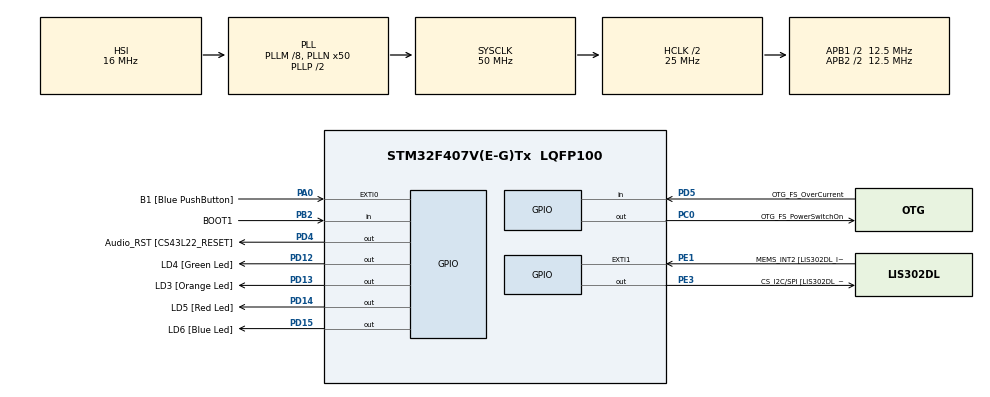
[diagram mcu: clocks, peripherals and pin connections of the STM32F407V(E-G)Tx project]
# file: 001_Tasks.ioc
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Mcu.Family=STM32F4
Mcu.Name=STM32F407V(E-G)Tx
Mcu.Package=LQFP100
NVIC.PriorityGroup=NVIC_PRIORITYGROUP_4
NVIC.TIM6_DAC_IRQn=true\:15\:0\:false\:false\:true\:false\:true\:true
NVIC.TimeBase=TIM6_DAC_IRQn
NVIC.TimeBaseIP=TIM6
PA0-WKUP.GPIO_Label=B1 [Blue PushButton]
PA0-WKUP.Signal=GPXTI0
PA10.GPIO_Label=OTG_FS_ID
PA10.GPIO_Mode=GPIO_MODE_AF_PP
PA10.GPIO_PuPd=GPIO_NOPULL
PA10.GPIO_Speed=GPIO_SPEED_FREQ_LOW
PA10.Signal=USB_OTG_FS_ID
PA11.GPIO_Label=OTG_FS_DM
PA11.GPIO_Mode=GPIO_MODE_AF_PP
PA11.GPIO_PuPd=GPIO_NOPULL
PA11.GPIO_Speed=GPIO_SPEED_FREQ_LOW
PA11.Signal=USB_OTG_FS_DM
PA12.GPIO_Label=OTG_FS_DP
PA12.GPIO_Mode=GPIO_MODE_AF_PP
PA12.GPIO_PuPd=GPIO_NOPULL
PA12.GPIO_Speed=GPIO_SPEED_FREQ_LOW
PA12.Signal=USB_OTG_FS_DP
PA13.GPIO_Label=SWDIO
PA13.Signal=SYS_JTMS-SWDIO
PA14.GPIO_Label=SWCLK
PA14.Signal=SYS_JTCK-SWCLK
PA4.GPIO_Label=I2S3_WS [CS43L22_LRCK]
PA4.GPIO_Mode=GPIO_MODE_AF_PP
PA4.GPIO_PuPd=GPIO_NOPULL
PA4.GPIO_Speed=GPIO_SPEED_FREQ_LOW
PA4.Signal=I2S3_WS
PA5.GPIO_Label=SPI1_SCK [LIS302DL_SCL/SPC]
PA5.GPIO_Mode=GPIO_MODE_AF_PP
PA5.GPIO_PuPd=GPIO_NOPULL
PA5.GPIO_Speed=GPIO_SPEED_FREQ_LOW
PA5.Signal=SPI1_SCK
PA6.GPIO_Label=SPI1_MISO [LIS302DL_SDO]
PA6.GPIO_Mode=GPIO_MODE_AF_PP
PA6.GPIO_PuPd=GPIO_NOPULL
PA6.GPIO_Speed=GPIO_SPEED_FREQ_LOW
PA6.Signal=SPI1_MISO
PA7.GPIO_Label=SPI1_MOSI [LIS302DL_SDA/SDI/SDO]
PA7.GPIO_Mode=GPIO_MODE_AF_PP
PA7.GPIO_PuPd=GPIO_NOPULL
PA7.GPIO_Speed=GPIO_SPEED_FREQ_LOW
PA7.Signal=SPI1_MOSI
PA9.GPIO_Label=VBUS_FS
PA9.GPIO_Mode=GPIO_MODE_INPUT
PA9.GPIO_PuPd=GPIO_NOPULL
PA9.Signal=USB_OTG_FS_VBUS
PB10.GPIO_Label=CLK_IN [MP45DT02_CLK]
PB10.GPIO_Mode=GPIO_MODE_AF_PP
PB10.GPIO_PuPd=GPIO_NOPULL
PB10.GPIO_Speed=GPIO_SPEED_FREQ_LOW
PB10.Signal=I2S2_CK
PB2.GPIO_Label=BOOT1
PB2.GPIO_Mode=GPIO_MODE_INPUT
PB2.GPIO_PuPd=GPIO_NOPULL
PB2.Signal=GPIO_Input
PB3.GPIO_Label=SWO
PB3.Signal=SYS_JTDO-SWO
PB6.GPIO_Label=Audio_SCL [CS43L22_SCL]
PB6.GPIO_Mode=GPIO_MODE_AF_OD
PB6.GPIO_PuPd=GPIO_NOPULL
PB6.GPIO_Speed=GPIO_SPEED_FREQ_LOW
PB6.Signal=I2C1_SCL
PB9.GPIO_Label=Audio_SDA [CS43L22_SDA]
PB9.GPIO_Mode=GPIO_MODE_AF_OD
PB9.GPIO_PuPd=GPIO_NOPULL
PB9.GPIO_Speed=GPIO_SPEED_FREQ_LOW
PB9.Signal=I2C1_SDA
PC0.GPIO_Label=OTG_FS_PowerSwitchOn
PC0.GPIO_PuPd=GPIO_NOPULL
PC0.GPIO_Speed=GPIO_SPEED_FREQ_LOW
PC0.PinState=GPIO_PIN_SET
PC0.Signal=GPIO_Output
PC10.GPIO_Label=I2S3_SCK [CS43L22_SCLK]
PC10.GPIO_Mode=GPIO_MODE_AF_PP
PC10.GPIO_PuPd=GPIO_NOPULL
PC10.GPIO_Speed=GPIO_SPEED_FREQ_LOW
PC10.Signal=I2S3_CK
PC12.GPIO_Label=I2S3_SD [CS43L22_SDIN]
PC12.GPIO_Mode=GPIO_MODE_AF_PP
PC12.GPIO_PuPd=GPIO_NOPULL
PC12.GPIO_Speed=GPIO_SPEED_FREQ_LOW
PC12.Signal=I2S3_SD
PC14-OSC32_IN.GPIO_Label=PC14-OSC32_IN
PC14-OSC32_IN.Signal=RCC_OSC32_IN
PC15-OSC32_OUT.GPIO_Label=PC15-OSC32_OUT
PC15-OSC32_OUT.Signal=RCC_OSC32_OUT
PC3.GPIO_Label=PDM_OUT [MP45DT02_DOUT]
PC3.GPIO_Mode=GPIO_MODE_AF_PP
PC3.GPIO_PuPd=GPIO_NOPULL
PC3.GPIO_Speed=GPIO_SPEED_FREQ_LOW
PC3.Signal=I2S2_SD
PC7.GPIO_Label=I2S3_MCK [CS43L22_MCLK]
PC7.GPIO_Mode=GPIO_MODE_AF_PP
PC7.GPIO_PuPd=GPIO_NOPULL
PC7.GPIO_Speed=GPIO_SPEED_FREQ_LOW
PC7.Signal=I2S3_MCK
PD12.GPIO_Label=LD4 [Green Led]
PD12.GPIO_PuPd=GPIO_NOPULL
PD12.GPIO_Speed=GPIO_SPEED_FREQ_LOW
PD12.Signal=GPIO_Output
PD13.GPIO_Label=LD3 [Orange Led]
PD13.GPIO_PuPd=GPIO_NOPULL
PD13.GPIO_Speed=GPIO_SPEED_FREQ_LOW
PD13.Signal=GPIO_Output
PD14.GPIO_Label=LD5 [Red Led]
PD14.GPIO_PuPd=GPIO_NOPULL
PD14.GPIO_Speed=GPIO_SPEED_FREQ_LOW
PD14.Signal=GPIO_Output
PD15.GPIO_Label=LD6 [Blue Led]
PD15.GPIO_PuPd=GPIO_NOPULL
PD15.GPIO_Speed=GPIO_SPEED_FREQ_LOW
PD15.Signal=GPIO_Output
PD4.GPIO_Label=Audio_RST [CS43L22_RESET]
PD4.GPIO_PuPd=GPIO_NOPULL
PD4.GPIO_Speed=GPIO_SPEED_FREQ_LOW
PD4.Signal=GPIO_Output
PD5.GPIO_Label=OTG_FS_OverCurrent
PD5.GPIO_Mode=GPIO_MODE_INPUT
PD5.GPIO_PuPd=GPIO_NOPULL
PD5.Signal=GPIO_Input
PE1.GPIO_Label=MEMS_INT2 [LIS302DL_INT2]
PE1.GPIO_ModeDefaultEXTI=GPIO_MODE_EVT_RISING
PE1.GPIO_PuPd=GPIO_NOPULL
PE1.Signal=GPXTI1
PE3.GPIO_Label=CS_I2C/SPI [LIS302DL_CS_I2C/SPI]
PE3.GPIO_PuPd=GPIO_NOPULL
PE3.GPIO_Speed=GPIO_SPEED_FREQ_LOW
PE3.Signal=GPIO_Output
PH0-OSC_IN.GPIO_Label=PH0-OSC_IN
PH0-OSC_IN.Signal=RCC_OSC_IN
PH1-OSC_OUT.GPIO_Label=PH1-OSC_OUT
PH1-OSC_OUT.Signal=RCC_OSC_OUT
ProjectManager.HeapSize=0x200
ProjectManager.StackSize=0x400
ProjectManager.TargetToolchain=STM32CubeIDE
RCC.48MHZClocksFreq_Value=14285714.285714285
RCC.AHBCLKDivider=RCC_SYSCLK_DIV2
RCC.AHBFreq_Value=25000000
RCC.APB1CLKDivider=RCC_HCLK_DIV2
RCC.APB1Freq_Value=12500000
RCC.APB1TimFreq_Value=25000000
RCC.APB2CLKDivider=RCC_HCLK_DIV2
RCC.APB2Freq_Value=12500000
RCC.APB2TimFreq_Value=25000000
RCC.CortexFreq_Value=25000000
RCC.HCLKFreq_Value=25000000
RCC.HSE_VALUE=8000000
RCC.HSI_VALUE=16000000
RCC.LSE_VALUE=32768
RCC.PLLM=8
RCC.PLLN=50
RCC.PLLQ=7
RCC.SYSCLKFreq_VALUE=50000000
RCC.SYSCLKSource=RCC_SYSCLKSOURCE_PLLCLK
RCC.VCOOutputFreq_Value=100000000
VP_SYS_VS_tim6.Mode=TIM6
board=STM32F407G-DISC1

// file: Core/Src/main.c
/* USER CODE BEGIN Header */
/**
  ******************************************************************************
  * @file           : main.c
  * @brief          : Main program body
  ******************************************************************************
  * @attention
  *
  * Copyright (c) 2024 STMicroelectronics.
  * All rights reserved.
  *
  * This software is licensed under terms that can be found in the LICENSE file
  * in the root directory of this software component.
  * If no LICENSE file comes with this software, it is provided AS-IS.
  *
  ******************************************************************************
  */
/* USER CODE END Header */
#include "main.h"

/* USER CODE BEGIN Includes */
#include <stdio.h>
#include "FreeRTOS.h"
#include "task.h"

/* USER CODE END Includes */

/* USER CODE BEGIN PD */
#define DWT_CTRL (*(volatile uint32_t *) 0xE0001000)
/* USER CODE END PD */

/* USER CODE BEGIN PV */
TaskHandle_t task1_handle;
TaskHandle_t task2_handle;

BaseType_t status;
/* USER CODE END PV */

void SystemClock_Config(void);
static void MX_GPIO_Init(void);
/* USER CODE BEGIN PFP */
static void Task1_Handler(void*);
static void Task2_Handler(void*);
/* USER CODE END PFP */

int main(void)
{

  /* MCU Configuration--------------------------------------------------------*/

  /* Reset of all peripherals, Initializes the Flash interface and the Systick. */
  HAL_Init();

  /* Configure the system clock */
  SystemClock_Config();

  /* Initialize all configured peripherals */
  MX_GPIO_Init();
  /* USER CODE BEGIN 2 */

  //enable the cycle counter (CYCCNT register)
  DWT_CTRL |= (1<<0);

SEGGER_SYSVIEW_Conf();
SEGGER_SYSVIEW_Start();

status = xTaskCreate(Task1_Handler, "Task_1", 200, "Message from task 1", 2, &task1_handle);
configASSERT(status == pdPASS);

status = xTaskCreate(Task2_Handler, "Task_2", 200, "Message from task 2", 2, &task2_handle);
configASSERT(status == pdPASS);

vTaskStartScheduler(); //if the scheduler fails, this function will return.
  /* USER CODE END 2 */

  /* Infinite loop */
  while (1)
  {

  }
}

void SystemClock_Config(void)
{
  RCC_OscInitTypeDef RCC_OscInitStruct = {0};
  RCC_ClkInitTypeDef RCC_ClkInitStruct = {0};

  /** Configure the main internal regulator output voltage
  */
  __HAL_RCC_PWR_CLK_ENABLE();
  __HAL_PWR_VOLTAGESCALING_CONFIG(PWR_REGULATOR_VOLTAGE_SCALE1);

  /** Initializes the RCC Oscillators according to the specified parameters
  * in the RCC_OscInitTypeDef structure.
  */
  RCC_OscInitStruct.OscillatorType = RCC_OSCILLATORTYPE_HSI;
  RCC_OscInitStruct.HSIState = RCC_HSI_ON;
  RCC_OscInitStruct.HSICalibrationValue = RCC_HSICALIBRATION_DEFAULT;
  RCC_OscInitStruct.PLL.PLLState = RCC_PLL_ON;
  RCC_OscInitStruct.PLL.PLLSource = RCC_PLLSOURCE_HSI;
  RCC_OscInitStruct.PLL.PLLM = 8;
  RCC_OscInitStruct.PLL.PLLN = 50;
  RCC_OscInitStruct.PLL.PLLP = RCC_PLLP_DIV2;
  RCC_OscInitStruct.PLL.PLLQ = 7;
  if (HAL_RCC_OscConfig(&RCC_OscInitStruct) != HAL_OK)
  {
    Error_Handler();
  }

  /** Initializes the CPU, AHB and APB buses clocks
  */
  RCC_ClkInitStruct.ClockType = RCC_CLOCKTYPE_HCLK|RCC_CLOCKTYPE_SYSCLK
                              |RCC_CLOCKTYPE_PCLK1|RCC_CLOCKTYPE_PCLK2;
  RCC_ClkInitStruct.SYSCLKSource = RCC_SYSCLKSOURCE_PLLCLK;
  RCC_ClkInitStruct.AHBCLKDivider = RCC_SYSCLK_DIV2;
  RCC_ClkInitStruct.APB1CLKDivider = RCC_HCLK_DIV2;
  RCC_ClkInitStruct.APB2CLKDivider = RCC_HCLK_DIV2;

  if (HAL_RCC_ClockConfig(&RCC_ClkInitStruct, FLASH_LATENCY_0) != HAL_OK)
  {
    Error_Handler();
  }
}

static void MX_GPIO_Init(void)
{
  GPIO_InitTypeDef GPIO_InitStruct = {0};

  /* GPIO Ports Clock Enable */
  __HAL_RCC_GPIOE_CLK_ENABLE();
  __HAL_RCC_GPIOC_CLK_ENABLE();
  __HAL_RCC_GPIOH_CLK_ENABLE();
  __HAL_RCC_GPIOA_CLK_ENABLE();
  __HAL_RCC_GPIOB_CLK_ENABLE();
  __HAL_RCC_GPIOD_CLK_ENABLE();

  /*Configure GPIO pin Output Level */
  HAL_GPIO_WritePin(CS_I2C_SPI_GPIO_Port, CS_I2C_SPI_Pin, GPIO_PIN_RESET);

  /*Configure GPIO pin Output Level */
  HAL_GPIO_WritePin(OTG_FS_PowerSwitchOn_GPIO_Port, OTG_FS_PowerSwitchOn_Pin, GPIO_PIN_SET);

  /*Configure GPIO pin Output Level */
  HAL_GPIO_WritePin(GPIOD, LD4_Pin|LD3_Pin|LD5_Pin|LD6_Pin
                          |Audio_RST_Pin, GPIO_PIN_RESET);

  /*Configure GPIO pin : CS_I2C_SPI_Pin */
  GPIO_InitStruct.Pin = CS_I2C_SPI_Pin;
  GPIO_InitStruct.Mode = GPIO_MODE_OUTPUT_PP;
  GPIO_InitStruct.Pull = GPIO_NOPULL;
  GPIO_InitStruct.Speed = GPIO_SPEED_FREQ_LOW;
  HAL_GPIO_Init(CS_I2C_SPI_GPIO_Port, &GPIO_InitStruct);

  /*Configure GPIO pin : OTG_FS_PowerSwitchOn_Pin */
  GPIO_InitStruct.Pin = OTG_FS_PowerSwitchOn_Pin;
  GPIO_InitStruct.Mode = GPIO_MODE_OUTPUT_PP;
  GPIO_InitStruct.Pull = GPIO_NOPULL;
  GPIO_InitStruct.Speed = GPIO_SPEED_FREQ_LOW;
  HAL_GPIO_Init(OTG_FS_PowerSwitchOn_GPIO_Port, &GPIO_InitStruct);

  /*Configure GPIO pin : PDM_OUT_Pin */
  GPIO_InitStruct.Pin = PDM_OUT_Pin;
  GPIO_InitStruct.Mode = GPIO_MODE_AF_PP;
  GPIO_InitStruct.Pull = GPIO_NOPULL;
  GPIO_InitStruct.Speed = GPIO_SPEED_FREQ_LOW;
  GPIO_InitStruct.Alternate = GPIO_AF5_SPI2;
  HAL_GPIO_Init(PDM_OUT_GPIO_Port, &GPIO_InitStruct);

  /*Configure GPIO pin : B1_Pin */
  GPIO_InitStruct.Pin = B1_Pin;
  GPIO_InitStruct.Mode = GPIO_MODE_IT_RISING;
  GPIO_InitStruct.Pull = GPIO_NOPULL;
  HAL_GPIO_Init(B1_GPIO_Port, &GPIO_InitStruct);

  /*Configure GPIO pin : I2S3_WS_Pin */
  GPIO_InitStruct.Pin = I2S3_WS_Pin;
  GPIO_InitStruct.Mode = GPIO_MODE_AF_PP;
  GPIO_InitStruct.Pull = GPIO_NOPULL;
  GPIO_InitStruct.Speed = GPIO_SPEED_FREQ_LOW;
  GPIO_InitStruct.Alternate = GPIO_AF6_SPI3;
  HAL_GPIO_Init(I2S3_WS_GPIO_Port, &GPIO_InitStruct);

  /*Configure GPIO pins : SPI1_SCK_Pin SPI1_MISO_Pin SPI1_MOSI_Pin */
  GPIO_InitStruct.Pin = SPI1_SCK_Pin|SPI1_MISO_Pin|SPI1_MOSI_Pin;
  GPIO_InitStruct.Mode = GPIO_MODE_AF_PP;
  GPIO_InitStruct.Pull = GPIO_NOPULL;
  GPIO_InitStruct.Speed = GPIO_SPEED_FREQ_LOW;
  GPIO_InitStruct.Alternate = GPIO_AF5_SPI1;
  HAL_GPIO_Init(GPIOA, &GPIO_InitStruct);

  /*Configure GPIO pin : BOOT1_Pin */
  GPIO_InitStruct.Pin = BOOT1_Pin;
  GPIO_InitStruct.Mode = GPIO_MODE_INPUT;
  GPIO_InitStruct.Pull = GPIO_NOPULL;
  HAL_GPIO_Init(BOOT1_GPIO_Port, &GPIO_InitStruct);

  /*Configure GPIO pin : CLK_IN_Pin */
  GPIO_InitStruct.Pin = CLK_IN_Pin;
  GPIO_InitStruct.Mode = GPIO_MODE_AF_PP;
  GPIO_InitStruct.Pull = GPIO_NOPULL;
  GPIO_InitStruct.Speed = GPIO_SPEED_FREQ_LOW;
  GPIO_InitStruct.Alternate = GPIO_AF5_SPI2;
  HAL_GPIO_Init(CLK_IN_GPIO_Port, &GPIO_InitStruct);

  /*Configure GPIO pins : LD4_Pin LD3_Pin LD5_Pin LD6_Pin
                           Audio_RST_Pin */
  GPIO_InitStruct.Pin = LD4_Pin|LD3_Pin|LD5_Pin|LD6_Pin
                          |Audio_RST_Pin;
  GPIO_InitStruct.Mode = GPIO_MODE_OUTPUT_PP;
  GPIO_InitStruct.Pull = GPIO_NOPULL;
  GPIO_InitStruct.Speed = GPIO_SPEED_FREQ_LOW;
  HAL_GPIO_Init(GPIOD, &GPIO_InitStruct);

  /*Configure GPIO pins : I2S3_MCK_Pin I2S3_SCK_Pin I2S3_SD_Pin */
  GPIO_InitStruct.Pin = I2S3_MCK_Pin|I2S3_SCK_Pin|I2S3_SD_Pin;
  GPIO_InitStruct.Mode = GPIO_MODE_AF_PP;
  GPIO_InitStruct.Pull = GPIO_NOPULL;
  GPIO_InitStruct.Speed = GPIO_SPEED_FREQ_LOW;
  GPIO_InitStruct.Alternate = GPIO_AF6_SPI3;
  HAL_GPIO_Init(GPIOC, &GPIO_InitStruct);

  /*Configure GPIO pin : VBUS_FS_Pin */
  GPIO_InitStruct.Pin = VBUS_FS_Pin;
  GPIO_InitStruct.Mode = GPIO_MODE_INPUT;
  GPIO_InitStruct.Pull = GPIO_NOPULL;
  HAL_GPIO_Init(VBUS_FS_GPIO_Port, &GPIO_InitStruct);

  /*Configure GPIO pins : OTG_FS_ID_Pin OTG_FS_DM_Pin OTG_FS_DP_Pin */
  GPIO_InitStruct.Pin = OTG_FS_ID_Pin|OTG_FS_DM_Pin|OTG_FS_DP_Pin;
  GPIO_InitStruct.Mode = GPIO_MODE_AF_PP;
  GPIO_InitStruct.Pull = GPIO_NOPULL;
  GPIO_InitStruct.Speed = GPIO_SPEED_FREQ_LOW;
  GPIO_InitStruct.Alternate = GPIO_AF10_OTG_FS;
  HAL_GPIO_Init(GPIOA, &GPIO_InitStruct);

  /*Configure GPIO pin : OTG_FS_OverCurrent_Pin */
  GPIO_InitStruct.Pin = OTG_FS_OverCurrent_Pin;
  GPIO_InitStruct.Mode = GPIO_MODE_INPUT;
  GPIO_InitStruct.Pull = GPIO_NOPULL;
  HAL_GPIO_Init(OTG_FS_OverCurrent_GPIO_Port, &GPIO_InitStruct);

  /*Configure GPIO pins : Audio_SCL_Pin Audio_SDA_Pin */
  GPIO_InitStruct.Pin = Audio_SCL_Pin|Audio_SDA_Pin;
  GPIO_InitStruct.Mode = GPIO_MODE_AF_OD;
  GPIO_InitStruct.Pull = GPIO_NOPULL;
  GPIO_InitStruct.Speed = GPIO_SPEED_FREQ_LOW;
  GPIO_InitStruct.Alternate = GPIO_AF4_I2C1;
  HAL_GPIO_Init(GPIOB, &GPIO_InitStruct);

  /*Configure GPIO pin : MEMS_INT2_Pin */
  GPIO_InitStruct.Pin = MEMS_INT2_Pin;
  GPIO_InitStruct.Mode = GPIO_MODE_EVT_RISING;
  GPIO_InitStruct.Pull = GPIO_NOPULL;
  HAL_GPIO_Init(MEMS_INT2_GPIO_Port, &GPIO_InitStruct);

}

/* USER CODE BEGIN 4 */
static void Task1_Handler(void* parameters){

	while(1){
		printf("%s\n", (char *) parameters);
		//taskYIELD();
	}

}

static void Task2_Handler(void* parameters)
{
	while(1){
		printf("%s\n", (char *) parameters);
		//taskYIELD();
	}

}

/*
int _write(int le, char *ptr, int len)

{

int DataIdx;

for(DataIdx = 0; DataIdx < len; DataIdx++)

{

ITM_SendChar(*ptr++);

}

return len;

}
*/

/* USER CODE END 4 */

void HAL_TIM_PeriodElapsedCallback(TIM_HandleTypeDef *htim)
{
  if (htim->Instance == TIM6) {
    HAL_IncTick();
  }
}

void Error_Handler(void)
{
  __disable_irq();
  while (1)
  {
  }
}
